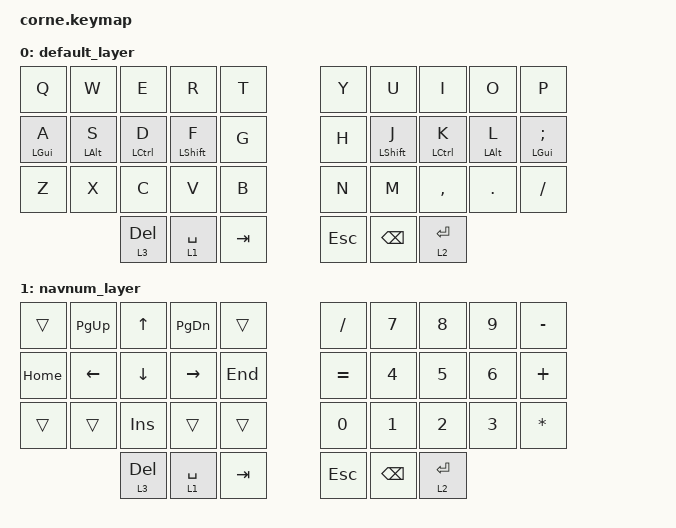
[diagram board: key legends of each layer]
#include <behaviors.dtsi>
#include <dt-bindings/zmk/keys.h>
#include <dt-bindings/zmk/bt.h>

/ {
    keymap {
        compatible = "zmk,keymap";

        default_layer {
/* QWERTY
 *
 * ,----------------------------------.                      ,----------------------------------.
 * |   Q  |   W  |   E  |   R  |   T  |                      |   Y  |   U  |   I  |   O  |   P  |
 * |------+------+------+------+------|                      |------+------+------+------+------|
 * |   A  |   S  |   D  |   F  |   G  |                      |   H  |   J  |   K  |   L  |   ;  |
 * |------+------+------+------+------|                      |------+------+------+------+------|
 * |   Z  |   X  |   C  |   V  |   B  |                      |   N  |   M  |   ,  |   .  |   /  |
 * `----------------------------------'                      `----------------------------------'
 *                    ,--------------------.            ,--------------------.
 *                    | DEL | SPACE | TAB  |            |  ESC  | BS | ENTER |
 *                    `--------------------'            `--------------------'
 */
            bindings = <
    &kp Q       &kp W       &kp E       &kp R       &kp T               &kp Y   &kp U       &kp I       &kp O       &kp P
    &mt LGUI A  &mt LALT S  &mt LCTRL D &mt LSHFT F &kp G               &kp H   &mt LSHFT J &mt LCTRL K &mt LALT L  &mt LGUI SEMI
    &kp Z       &kp X       &kp C       &kp V       &kp B               &kp N   &kp M       &kp COMMA   &kp DOT     &kp FSLH
                            &lt 3 DEL   &lt 1 SPACE &kp TAB             &kp ESC     &kp BSPC    &lt 2 RET
            >;

        };

        navnum_layer {
/* NAVNUM
 *
 * ,----------------------------------.                      ,----------------------------------.
 * |      | PgUp |  UP  | PgDn |      |                      |   /  |   7  |   8  |   9  |   -  |
 * |------+------+------+------+------|                      |------+------+------+------+------|
 * | Home | Left | Down | Right| End  |                      |   =  |   4  |   5  |   6  |   +  |
 * |------+------+------+------+------|                      |------+------+------+------+------|
 * |      |      |  INS |      |      |                      |   0  |   1  |   2  |   3  |   *  |
 * `----------------------------------'                      `----------------------------------'
 *                    ,--------------------.            ,--------------------.
 *                    | DEL | SPACE | TAB  |            |  ESC  | BS | ENTER |
 *                    `--------------------'            `--------------------'
 */
            bindings = <
    &trans      &kp PG_UP   &kp UP      &kp PG_DN   &trans                       &kp FSLH    &kp N7  &kp N8      &kp N9      &kp MINUS
    &kp HOME    &kp LEFT    &kp DOWN    &kp RIGHT   &kp END                      &kp EQUAL   &kp N4  &kp N5      &kp N6      &kp PLUS
    &trans      &trans      &kp INS     &trans      &trans                       &kp N0      &kp N1  &kp N2      &kp N3      &kp ASTERISK
                &lt 3 DEL   &lt 1 SPACE &kp TAB                              &kp ESC &kp BSPC    &lt 2 RET
            >;

        };




    };
};
